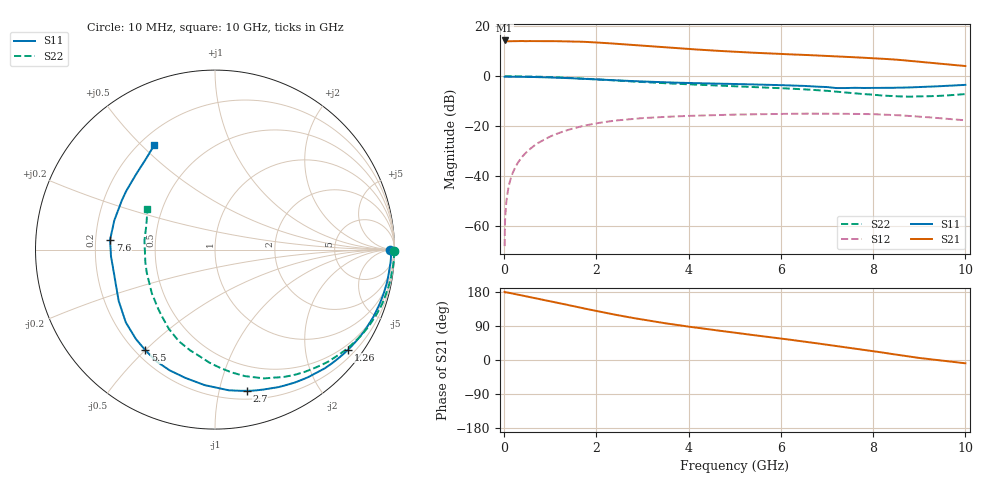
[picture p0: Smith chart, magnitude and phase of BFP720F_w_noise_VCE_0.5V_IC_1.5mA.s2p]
! Infineon Technologies  Discrete & RF Semiconductors
! BFP720F
! VCE =  0.5 V,  IC =  1.5 mA
! Common Emitter S-Parameters:  Jan 2016
# GHz  S  MA  R  50
!  f  S11  S21  S12  S22
! GHz  MAG  ANG  MAG  ANG  MAG  ANG  MAG  ANG
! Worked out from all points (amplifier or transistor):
!   233 points, 10 MHz to 10 GHz, reference 50 ohm
!   highest |S21| = 14.3 dB at 10 MHz (marker M1)
!   |S21| within 3 dB of that: start of sweep to 3.684 GHz
!   unconditionally stable (mu >= 1): start of sweep to 10.1 MHz
!   at 200 MHz: K = 0.01, MSG = 26.0 dB, |S12| = -38.1 dB
!   at 1.74 GHz: K = 0.14, MSG = 16.8 dB, |S12| = -19.8 dB
!   at 10 GHz: K = 0.87, MSG = 10.9 dB, |S12| = -17.6 dB
!   lowest NFmin = 0.44 dB at 450 MHz
!   S11 on the Smith chart (normalised r, x): 10 MHz: 80, +0; 1.26 GHz: 0.37, -2.96; 2.7 GHz: 0.27, -1.21; 5.5 GHz: 0.24, -0.50; 7.6 GHz: 0.26, +0.04; 10 GHz: 0.26, +0.54
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0.01  0.9752 0.0  5.197 179.8  0.0004 10.4  0.997 -0.5
0.02  0.9821 -0.5  4.951 178.2  0.0013 89.5  1 -1.1
0.04  0.9816 -1.2  4.984 178.5  0.0026 90.7  0.9984 -1.2
0.06  0.9814 -1.8  5.004 178.4  0.0038 90.0  0.9977 -1.5
0.14  0.9808 -3.9  5.027 176.4  0.0089 87.3  0.9981 -3.4
0.24  0.9778 -6.8  5.038 174.0  0.015 85.2  0.9964 -5.7
0.45  0.9727 -12.8  5.024 168.7  0.0282 80.6  0.9905 -10.8
0.8  0.9584 -23.1  5.069 160.2  0.05 72.7  0.9761 -19.4
1.26  0.9279 -36.9  5.004 148.3  0.0774 61.8  0.9424 -30.8
1.68  0.8919 -49.8  4.901 137.5  0.0999 52.0  0.9005 -41.4
2  0.8636 -59.1  4.745 129.3  0.1145 44.7  0.8671 -48.9
2.2  0.8464 -64.6  4.622 124.5  0.1224 40.2  0.8451 -53.7
2.7  0.806 -77.3  4.281 113.0  0.1378 29.9  0.793 -63.9
3.4  0.7614 -92.3  3.841 98.9  0.1523 17.7  0.7325 -75.0
4  0.7337 -103.0  3.515 88.0  0.1613 8.7  0.6904 -82.3
5.1  0.6978 -119.1  3.057 70.5  0.1716 -6.0  0.6244 -93.8
5.5  0.682 -124.6  2.929 64.2  0.1746 -11.0  0.6013 -97.9
6.8  0.6185 -147.3  2.599 43.7  0.1787 -27.8  0.5248 -116.5
7.6  0.587 174.7  2.396 30.3  0.1765 -38.7  0.4564 -134.0
8.4  0.5872 152.1  2.18 16.0  0.1687 -50.6  0.4017 -161.1
9  0.6079 136.3  1.957 5.4  0.1563 -59.4  0.3963 172.7
10  0.6725 120.4  1.6 -8.7  0.1315 -70.1  0.4401 148.8
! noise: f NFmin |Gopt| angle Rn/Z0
0.45  0.44  0.75  5  0.37
0.9  0.55  0.75  12  0.34
1.8  0.57  0.74  25  0.28
2.4  0.59  0.74  31  0.27
5.5  0.96  0.53  91  0.17
10  1.49  0.36  -141  0.14
